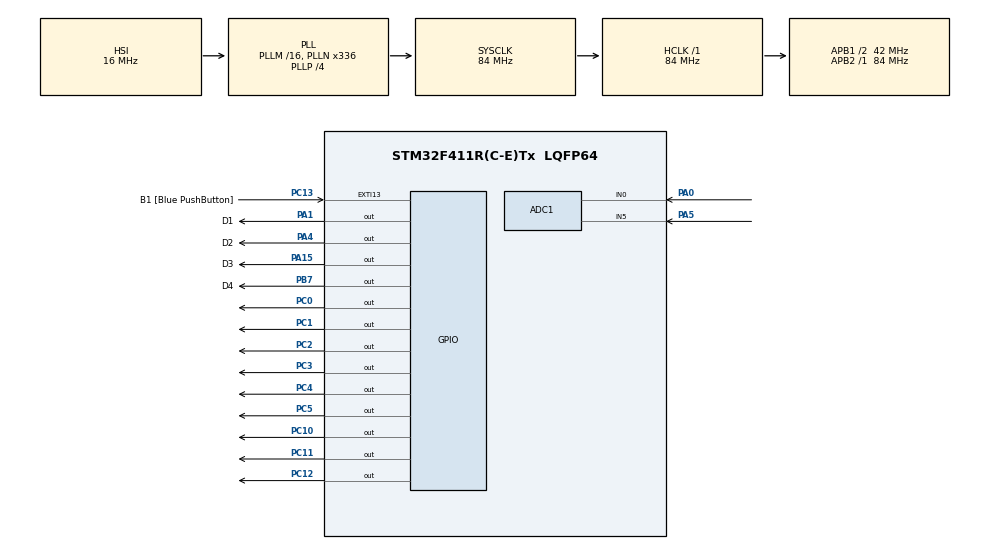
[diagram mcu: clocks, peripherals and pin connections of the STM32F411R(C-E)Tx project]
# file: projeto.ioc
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ADC1.Channel-0\#ChannelRegularConversion=ADC_CHANNEL_0
ADC1.NbrOfConversionFlag=1
ADC1.Rank-0\#ChannelRegularConversion=1
ADC1.SamplingTime-0\#ChannelRegularConversion=ADC_SAMPLETIME_3CYCLES
ADC1.master=1
Mcu.Family=STM32F4
Mcu.Name=STM32F411R(C-E)Tx
Mcu.Package=LQFP64
NVIC.PriorityGroup=NVIC_PRIORITYGROUP_0
NVIC.TIM1_TRG_COM_TIM11_IRQn=true\:0\:0\:false\:false\:true\:true\:true\:true
PA0-WKUP.Signal=SharedAnalog_PA0
PA1.GPIO_Label=D1
PA1.Signal=GPIO_Output
PA13.GPIO_Label=TMS
PA13.Mode=Serial_Wire
PA13.Signal=SYS_JTMS-SWDIO
PA14.GPIO_Label=TCK
PA14.Mode=Serial_Wire
PA14.Signal=SYS_JTCK-SWCLK
PA15.GPIO_Label=D3
PA15.Signal=GPIO_Output
PA2.GPIO_Label=USART_TX
PA2.Signal=USART2_TX
PA4.GPIO_Label=D2
PA4.Signal=GPIO_Output
PA5.Signal=ADCx_IN5
PB3.GPIO_Label=SWO
PB3.Signal=SYS_JTDO-SWO
PB7.GPIO_Label=D4
PB7.Signal=GPIO_Output
PC0.Signal=GPIO_Output
PC1.Signal=GPIO_Output
PC10.Signal=GPIO_Output
PC11.Signal=GPIO_Output
PC12.Signal=GPIO_Output
PC13-ANTI_TAMP.GPIO_Label=B1 [Blue PushButton]
PC13-ANTI_TAMP.GPIO_ModeDefaultEXTI=GPIO_MODE_IT_FALLING
PC13-ANTI_TAMP.Signal=GPXTI13
PC14-OSC32_IN.Mode=LSE-External-Oscillator
PC14-OSC32_IN.Signal=RCC_OSC32_IN
PC15-OSC32_OUT.Mode=LSE-External-Oscillator
PC15-OSC32_OUT.Signal=RCC_OSC32_OUT
PC2.Signal=GPIO_Output
PC3.Signal=GPIO_Output
PC4.Signal=GPIO_Output
PC5.Signal=GPIO_Output
PH0\ -\ OSC_IN.Mode=HSE-External-Clock-Source
PH0\ -\ OSC_IN.Signal=RCC_OSC_IN
PH1\ -\ OSC_OUT.Mode=HSE-External-Clock-Source
PH1\ -\ OSC_OUT.Signal=RCC_OSC_OUT
ProjectManager.HeapSize=0x200
ProjectManager.StackSize=0x400
ProjectManager.TargetToolchain=STM32CubeIDE
RCC.48MHZClocksFreq_Value=84000000
RCC.AHBFreq_Value=84000000
RCC.APB1CLKDivider=RCC_HCLK_DIV2
RCC.APB1Freq_Value=42000000
RCC.APB1TimFreq_Value=84000000
RCC.APB2Freq_Value=84000000
RCC.APB2TimFreq_Value=84000000
RCC.CortexFreq_Value=84000000
RCC.FLatency-AdvancedSettings=FLASH_LATENCY_2
RCC.HCLKFreq_Value=84000000
RCC.HSE_VALUE=8000000
RCC.HSI_VALUE=16000000
RCC.PLLN=336
RCC.PLLP=RCC_PLLP_DIV4
RCC.SYSCLKFreq_VALUE=84000000
RCC.SYSCLKSource=RCC_SYSCLKSOURCE_PLLCLK
RCC.VCOOutputFreq_Value=336000000
SH.ADCx_IN5.0=ADC1_IN5,IN5
SH.SharedAnalog_PA0.0=GPIO_Analog
SH.SharedAnalog_PA0.1=ADC1_IN0,IN0
TIM11.Period=10000 - 1
TIM11.Prescaler=8000 - 1 
VP_TIM11_VS_ClockSourceINT.Mode=Enable_Timer
board=NUCLEO-F411RE

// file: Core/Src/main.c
/* USER CODE BEGIN Header */
/**
  ******************************************************************************
  * @file           : main.c
  * @brief          : Main program body
  ******************************************************************************
  * @attention
  *
  * Copyright (c) 2022 STMicroelectronics.
  * All rights reserved.
  *
  * This software is licensed under terms that can be found in the LICENSE file
  * in the root directory of this software component.
  * If no LICENSE file comes with this software, it is provided AS-IS.
  *
  ******************************************************************************
  */
/* USER CODE END Header */
#include "main.h"

/* USER CODE BEGIN Includes */
#include <math.h>
/* USER CODE END Includes */

 ADC_HandleTypeDef hadc1;

TIM_HandleTypeDef htim11;

void SystemClock_Config(void);
static void MX_GPIO_Init(void);
static void MX_ADC1_Init(void);
static void MX_TIM11_Init(void);

/* USER CODE BEGIN 0 */
uint8_t segmentNumber[10] = {
		0xC0,
		0xF9,
		0xA4,
		0xB0,
		0x99,
		0x92,
		0x82,
		0xF8,
		0x80,
		0x98
};

uint8_t counter = 0;
float temp_c;
float r_ntc;
float vout;
uint16_t raw;

void displayUpdate(uint8_t value){
	HAL_GPIO_WritePin(GPIOC, GPIO_PIN_0, ((value>>0)&0x01));
	HAL_GPIO_WritePin(GPIOC, GPIO_PIN_1, ((value>>1)&0x01));
	HAL_GPIO_WritePin(GPIOC, GPIO_PIN_2, ((value>>2)&0x01));
	HAL_GPIO_WritePin(GPIOC, GPIO_PIN_3, ((value>>3)&0x01));
	HAL_GPIO_WritePin(GPIOC, GPIO_PIN_10, ((value>>4)&0x01));
	HAL_GPIO_WritePin(GPIOC, GPIO_PIN_11, ((value>>5)&0x01));
	HAL_GPIO_WritePin(GPIOC, GPIO_PIN_12, ((value>>6)&0x01));
}

void display(unsigned int value){
	displayUpdate(segmentNumber[value%10]);
	HAL_GPIO_WritePin(D1_GPIO_Port, D1_Pin, GPIO_PIN_SET);
	HAL_Delay(1);
	displayUpdate(segmentNumber[(value/10)%10]);
	HAL_GPIO_WritePin(D1_GPIO_Port, D1_Pin, GPIO_PIN_RESET);
	HAL_GPIO_WritePin(D2_GPIO_Port, D2_Pin, GPIO_PIN_SET);
	HAL_Delay(1);
	displayUpdate(segmentNumber[(value/100)%10]);
	HAL_GPIO_WritePin(D2_GPIO_Port, D2_Pin, GPIO_PIN_RESET);
	HAL_GPIO_WritePin(D3_GPIO_Port, D3_Pin, GPIO_PIN_SET);
	HAL_Delay(1);
	displayUpdate(segmentNumber[(value/1000)%10]);
	HAL_GPIO_WritePin(D3_GPIO_Port, D3_Pin, GPIO_PIN_RESET);
	HAL_GPIO_WritePin(D4_GPIO_Port, D4_Pin, GPIO_PIN_SET);
	HAL_Delay(1);
	HAL_GPIO_WritePin(D4_GPIO_Port, D4_Pin, GPIO_PIN_RESET);
}

void readTemperature(){
	HAL_ADC_Start(&hadc1);
	HAL_ADC_PollForConversion(&hadc1, HAL_MAX_DELAY);
	raw = HAL_ADC_GetValue(&hadc1);
	vout = raw * 3.3/4095;
	temp_c = vout*103;
}
/* USER CODE END 0 */

int main(void)
{

  /* MCU Configuration--------------------------------------------------------*/

  /* Reset of all peripherals, Initializes the Flash interface and the Systick. */
  HAL_Init();

  /* Configure the system clock */
  SystemClock_Config();

  /* Initialize all configured peripherals */
  MX_GPIO_Init();
  MX_ADC1_Init();
  MX_TIM11_Init();
  /* USER CODE BEGIN 2 */
  HAL_TIM_Base_Start_IT(&htim11);
  HAL_GPIO_WritePin(GPIOC, GPIO_PIN_11, GPIO_PIN_RESET);
  //readTemperature();
  /* USER CODE END 2 */

  /* Infinite loop */
  /* USER CODE BEGIN WHILE */
  while (1)
  {
	  //HAL_GPIO_WritePin(D4_GPIO_Port, D4_Pin, GPIO_PIN_SET);
	  //HAL_GPIO_WritePin(GPIOC, GPIO_PIN_12, GPIO_PIN_SET);
	  //readTemperature();
	  //temp_c = (int)temp_c;
	  //readTemperature();
	  //HAL_Delay(100);
	  display(temp_c*100);

	  if(temp_c>26) HAL_GPIO_WritePin(GPIOC, GPIO_PIN_4, GPIO_PIN_SET);
	  else HAL_GPIO_WritePin(GPIOC, GPIO_PIN_4, GPIO_PIN_RESET);

    /* USER CODE END WHILE */

  }
}

void SystemClock_Config(void)
{
  RCC_OscInitTypeDef RCC_OscInitStruct = {0};
  RCC_ClkInitTypeDef RCC_ClkInitStruct = {0};

  /** Configure the main internal regulator output voltage
  */
  __HAL_RCC_PWR_CLK_ENABLE();
  __HAL_PWR_VOLTAGESCALING_CONFIG(PWR_REGULATOR_VOLTAGE_SCALE1);

  /** Initializes the RCC Oscillators according to the specified parameters
  * in the RCC_OscInitTypeDef structure.
  */
  RCC_OscInitStruct.OscillatorType = RCC_OSCILLATORTYPE_HSI;
  RCC_OscInitStruct.HSIState = RCC_HSI_ON;
  RCC_OscInitStruct.HSICalibrationValue = RCC_HSICALIBRATION_DEFAULT;
  RCC_OscInitStruct.PLL.PLLState = RCC_PLL_ON;
  RCC_OscInitStruct.PLL.PLLSource = RCC_PLLSOURCE_HSI;
  RCC_OscInitStruct.PLL.PLLM = 16;
  RCC_OscInitStruct.PLL.PLLN = 336;
  RCC_OscInitStruct.PLL.PLLP = RCC_PLLP_DIV4;
  RCC_OscInitStruct.PLL.PLLQ = 4;
  if (HAL_RCC_OscConfig(&RCC_OscInitStruct) != HAL_OK)
  {
    Error_Handler();
  }

  /** Initializes the CPU, AHB and APB buses clocks
  */
  RCC_ClkInitStruct.ClockType = RCC_CLOCKTYPE_HCLK|RCC_CLOCKTYPE_SYSCLK
                              |RCC_CLOCKTYPE_PCLK1|RCC_CLOCKTYPE_PCLK2;
  RCC_ClkInitStruct.SYSCLKSource = RCC_SYSCLKSOURCE_PLLCLK;
  RCC_ClkInitStruct.AHBCLKDivider = RCC_SYSCLK_DIV1;
  RCC_ClkInitStruct.APB1CLKDivider = RCC_HCLK_DIV2;
  RCC_ClkInitStruct.APB2CLKDivider = RCC_HCLK_DIV1;

  if (HAL_RCC_ClockConfig(&RCC_ClkInitStruct, FLASH_LATENCY_2) != HAL_OK)
  {
    Error_Handler();
  }
}

static void MX_ADC1_Init(void)
{

  ADC_ChannelConfTypeDef sConfig = {0};

  /** Configure the global features of the ADC (Clock, Resolution, Data Alignment and number of conversion)
  */
  hadc1.Instance = ADC1;
  hadc1.Init.ClockPrescaler = ADC_CLOCK_SYNC_PCLK_DIV4;
  hadc1.Init.Resolution = ADC_RESOLUTION_12B;
  hadc1.Init.ScanConvMode = DISABLE;
  hadc1.Init.ContinuousConvMode = DISABLE;
  hadc1.Init.DiscontinuousConvMode = DISABLE;
  hadc1.Init.ExternalTrigConvEdge = ADC_EXTERNALTRIGCONVEDGE_NONE;
  hadc1.Init.ExternalTrigConv = ADC_SOFTWARE_START;
  hadc1.Init.DataAlign = ADC_DATAALIGN_RIGHT;
  hadc1.Init.NbrOfConversion = 1;
  hadc1.Init.DMAContinuousRequests = DISABLE;
  hadc1.Init.EOCSelection = ADC_EOC_SINGLE_CONV;
  if (HAL_ADC_Init(&hadc1) != HAL_OK)
  {
    Error_Handler();
  }

  /** Configure for the selected ADC regular channel its corresponding rank in the sequencer and its sample time.
  */
  sConfig.Channel = ADC_CHANNEL_0;
  sConfig.Rank = 1;
  sConfig.SamplingTime = ADC_SAMPLETIME_3CYCLES;
  if (HAL_ADC_ConfigChannel(&hadc1, &sConfig) != HAL_OK)
  {
    Error_Handler();
  }

}

static void MX_TIM11_Init(void)
{

  htim11.Instance = TIM11;
  htim11.Init.Prescaler = 8000 - 1 ;
  htim11.Init.CounterMode = TIM_COUNTERMODE_UP;
  htim11.Init.Period = 10000 - 1;
  htim11.Init.ClockDivision = TIM_CLOCKDIVISION_DIV1;
  htim11.Init.AutoReloadPreload = TIM_AUTORELOAD_PRELOAD_DISABLE;
  if (HAL_TIM_Base_Init(&htim11) != HAL_OK)
  {
    Error_Handler();
  }

}

static void MX_GPIO_Init(void)
{
  GPIO_InitTypeDef GPIO_InitStruct = {0};

  /* GPIO Ports Clock Enable */
  __HAL_RCC_GPIOC_CLK_ENABLE();
  __HAL_RCC_GPIOH_CLK_ENABLE();
  __HAL_RCC_GPIOA_CLK_ENABLE();
  __HAL_RCC_GPIOB_CLK_ENABLE();

  /*Configure GPIO pin Output Level */
  HAL_GPIO_WritePin(GPIOC, GPIO_PIN_0|GPIO_PIN_1|GPIO_PIN_2|GPIO_PIN_3
                          |GPIO_PIN_4|GPIO_PIN_5|GPIO_PIN_10|GPIO_PIN_11
                          |GPIO_PIN_12, GPIO_PIN_RESET);

  /*Configure GPIO pin Output Level */
  HAL_GPIO_WritePin(GPIOA, D1_Pin|D2_Pin|D3_Pin, GPIO_PIN_RESET);

  /*Configure GPIO pin Output Level */
  HAL_GPIO_WritePin(D4_GPIO_Port, D4_Pin, GPIO_PIN_RESET);

  /*Configure GPIO pin : B1_Pin */
  GPIO_InitStruct.Pin = B1_Pin;
  GPIO_InitStruct.Mode = GPIO_MODE_IT_FALLING;
  GPIO_InitStruct.Pull = GPIO_NOPULL;
  HAL_GPIO_Init(B1_GPIO_Port, &GPIO_InitStruct);

  /*Configure GPIO pins : PC0 PC1 PC2 PC3
                           PC4 PC5 PC10 PC11
                           PC12 */
  GPIO_InitStruct.Pin = GPIO_PIN_0|GPIO_PIN_1|GPIO_PIN_2|GPIO_PIN_3
                          |GPIO_PIN_4|GPIO_PIN_5|GPIO_PIN_10|GPIO_PIN_11
                          |GPIO_PIN_12;
  GPIO_InitStruct.Mode = GPIO_MODE_OUTPUT_PP;
  GPIO_InitStruct.Pull = GPIO_NOPULL;
  GPIO_InitStruct.Speed = GPIO_SPEED_FREQ_LOW;
  HAL_GPIO_Init(GPIOC, &GPIO_InitStruct);

  /*Configure GPIO pins : D1_Pin D2_Pin D3_Pin */
  GPIO_InitStruct.Pin = D1_Pin|D2_Pin|D3_Pin;
  GPIO_InitStruct.Mode = GPIO_MODE_OUTPUT_PP;
  GPIO_InitStruct.Pull = GPIO_NOPULL;
  GPIO_InitStruct.Speed = GPIO_SPEED_FREQ_LOW;
  HAL_GPIO_Init(GPIOA, &GPIO_InitStruct);

  /*Configure GPIO pin : USART_TX_Pin */
  GPIO_InitStruct.Pin = USART_TX_Pin;
  GPIO_InitStruct.Mode = GPIO_MODE_AF_PP;
  GPIO_InitStruct.Pull = GPIO_NOPULL;
  GPIO_InitStruct.Speed = GPIO_SPEED_FREQ_VERY_HIGH;
  GPIO_InitStruct.Alternate = GPIO_AF7_USART2;
  HAL_GPIO_Init(USART_TX_GPIO_Port, &GPIO_InitStruct);

  /*Configure GPIO pin : D4_Pin */
  GPIO_InitStruct.Pin = D4_Pin;
  GPIO_InitStruct.Mode = GPIO_MODE_OUTPUT_PP;
  GPIO_InitStruct.Pull = GPIO_NOPULL;
  GPIO_InitStruct.Speed = GPIO_SPEED_FREQ_LOW;
  HAL_GPIO_Init(D4_GPIO_Port, &GPIO_InitStruct);

}

/* USER CODE BEGIN 4 */
void HAL_TIM_PeriodElapsedCallback(TIM_HandleTypeDef *htim)
{

  if (htim == &htim11 )
  {
	  if(temp_c>27){
		  HAL_GPIO_TogglePin(GPIOC, GPIO_PIN_5);
	  }else HAL_GPIO_WritePin(GPIOC, GPIO_PIN_5, GPIO_PIN_SET);
	  readTemperature();
  }
}
/* USER CODE END 4 */

void Error_Handler(void)
{
  __disable_irq();
  while (1)
  {
  }
}
